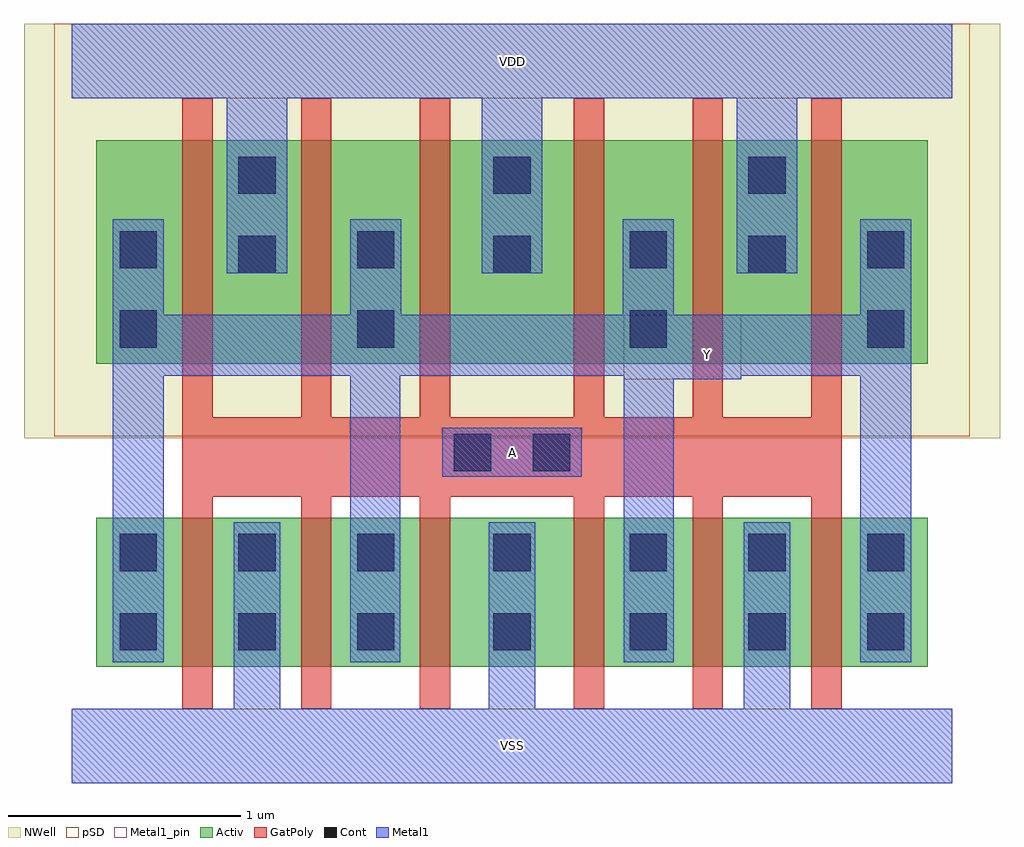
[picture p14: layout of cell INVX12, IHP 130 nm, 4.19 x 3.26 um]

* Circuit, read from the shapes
.subckt INVX12 A VDD VSS Y
XM1 VSS A Y VSUBS sg13_lv_nmos w=0.64u l=0.13u m=6
XM2 VDD A Y n1 sg13_lv_pmos w=0.96u l=0.13u m=6
.ends

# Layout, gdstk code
import gdstk
lib = gdstk.Library(unit=1e-6, precision=1e-09)
def R(c, l, rs):  # rectangles x0, y0, x1, y1
    for r in rs: c.add(gdstk.rectangle(r[:2], r[2:], *l))
def A(c, l, x, y, w, h, nx, ny, dx, dy):  # array of equal rectangles
    R(c, l, [(x+i*dx, y+j*dy, x+i*dx+w, y+j*dy+h) for i in range(nx) for j in range(ny)])
def P(c, l, *ps):  # polygons
    for p in ps: c.add(gdstk.Polygon(p, *l))
Activ = (1, 0)
GatPoly = (5, 0)
Cont = (6, 0)
Metal1 = (8, 0)
Metal1_pin = (8, 2)
pSD = (14, 0)
NWell = (31, 0)

invx12 = lib.new_cell('INVX12')
R(invx12, Activ, [(0.105,0.34,3.675,0.98), (0.105,1.64,3.675,2.6)])
P(invx12, GatPoly, [(0.475,0.16),(0.475,2.78),(0.605,2.78),(0.605,1.41),(0.985,1.41),(0.985,2.78),(1.115,2.78),(1.115,1.41),(1.495,1.41),(1.495,2.78),(1.625,2.78),(1.625,1.41),(2.155,1.41),(2.155,2.78),(2.285,2.78),(2.285,1.41),(2.665,1.41),(2.665,2.78),(2.795,2.78),(2.795,1.41),(3.175,1.41),(3.175,2.78),(3.305,2.78),(3.305,0.16),(3.175,0.16),(3.175,1.07),(2.795,1.07),(2.795,0.16),(2.665,0.16),(2.665,1.07),(2.285,1.07),(2.285,0.16),(2.155,0.16),(2.155,1.07),(1.625,1.07),(1.625,0.16),(1.495,0.16),(1.495,1.07),(1.115,1.07),(1.115,0.16),(0.985,0.16),(0.985,1.07),(0.605,1.07),(0.605,0.16)])
A(invx12, Cont, 0.205, 0.41, 0.16, 0.16, 3, 2, 0.51, 0.34)
A(invx12, Cont, 2.395, 0.41, 0.16, 0.16, 3, 2, 0.51, 0.34)
A(invx12, Cont, 0.715, 2.03, 0.16, 0.16, 3, 2, 1.095, 0.34)
R(invx12, Cont, [(1.81,0.41,1.97,0.57), (1.81,0.75,1.97,0.91), (1.64,1.18,1.8,1.34), (1.98,1.18,2.14,1.34), (0.205,1.71,0.365,1.87), (1.225,1.71,1.385,1.87), (2.395,1.71,2.555,1.87), (3.415,1.71,3.575,1.87), (0.205,2.05,0.365,2.21), (1.225,2.05,1.385,2.21), (2.395,2.05,2.555,2.21), (3.415,2.05,3.575,2.21)])
R(invx12, Metal1, [(1.59,1.155,2.19,1.365)])
P(invx12, Metal1, [(0,-0.16),(0,0.16),(0.695,0.16),(0.695,0.96),(0.895,0.96),(0.895,0.16),(1.79,0.16),(1.79,0.96),(1.99,0.96),(1.99,0.16),(2.885,0.16),(2.885,0.96),(3.085,0.96),(3.085,0.16),(3.78,0.16),(3.78,-0.16)],
  [(0.665,2.03),(0.665,2.78),(0,2.78),(0,3.1),(3.78,3.1),(3.78,2.78),(3.115,2.78),(3.115,2.03),(2.855,2.03),(2.855,2.78),(2.02,2.78),(2.02,2.03),(1.76,2.03),(1.76,2.78),(0.925,2.78),(0.925,2.03)],
  [(0.175,0.36),(0.175,2.26),(0.395,2.26),(0.395,1.85),(1.195,1.85),(1.195,2.26),(1.415,2.26),(1.415,1.85),(2.365,1.85),(2.365,2.26),(2.585,2.26),(2.585,1.85),(3.385,1.85),(3.385,2.26),(3.605,2.26),(3.605,0.36),(3.385,0.36),(3.385,1.59),(2.875,1.59),(2.875,1.575),(2.585,1.575),(2.585,0.36),(2.37,0.36),(2.37,1.59),(1.41,1.59),(1.41,0.36),(1.195,0.36),(1.195,1.59),(0.395,1.59),(0.395,0.36)])
R(invx12, Metal1_pin, [(0,-0.16,3.78,0.16), (1.59,1.155,2.19,1.365), (2.37,1.575,2.875,1.85), (0,2.78,3.78,3.1)])
R(invx12, pSD, [(-0.075,1.33,3.855,3.1)])
R(invx12, NWell, [(-0.205,1.32,3.985,3.1)])
invx12.add(gdstk.Label('A', (1.89,1.26), layer=8, texttype=25))
invx12.add(gdstk.Label('VSS', (1.89,0), layer=8, texttype=25))
invx12.add(gdstk.Label('VDD', (1.89,2.94), layer=8, texttype=25))
invx12.add(gdstk.Label('Y', (2.73,1.68), layer=8, texttype=25))

lib.write_gds('INVX12.gds')
